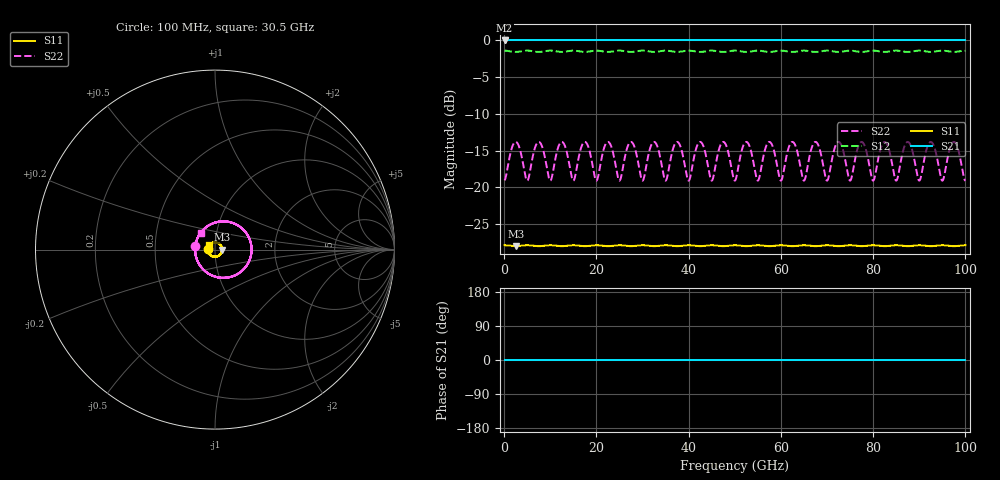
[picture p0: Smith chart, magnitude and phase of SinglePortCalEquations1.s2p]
! File created by SignalIntegrity v1.1.4: Signal and Power Integrity Tools
! https://github.com/TeledyneLeCroy/SignalIntegrity
# MHz MA S R 50.0
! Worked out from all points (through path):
!   1000 points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, 100 MHz to 100 GHz, reference 50 ohm
!   highest |S21| = 0.00 dB at 100 MHz (marker M1); lowest = 0.0 dB at 100 MHz (marker M2)
!   lowest |S11| = -28.0 dB at 2.5 GHz (marker M3), VSWR 1.08, Z = 54.1 + j0 ohm
!   |S11| at or under -10 dB: start of sweep to end of sweep
!   |S22| runs from -19.1 to -13.8 dB; largest |S21 - S12| = 0.16
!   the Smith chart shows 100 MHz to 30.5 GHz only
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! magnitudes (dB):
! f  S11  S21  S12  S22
! 100 MHz  -27.9  0.0  -1.4  -19.0
! 2.5 GHz  -28.0  0.0  -1.6  -13.8
! 5 GHz  -27.9  0.0  -1.4  -19.1
! 16.8 GHz  -28.0  0.0  -1.5  -14.4
! 20 GHz  -27.9  0.0  -1.4  -19.1
! 22.4 GHz  -28.0  0.0  -1.6  -13.8
! 25 GHz  -27.9  0.0  -1.4  -19.1
! 33.4 GHz  -28.0  0.0  -1.5  -14.8
! 42.6 GHz  -28.0  0.0  -1.6  -13.8
! 45 GHz  -27.9  0.0  -1.4  -19.1
! 47.6 GHz  -28.0  0.0  -1.6  -13.8
! 50.1 GHz  -27.9  0.0  -1.4  -19.0
! 52.4 GHz  -28.0  0.0  -1.6  -13.8
! 55 GHz  -27.9  0.0  -1.4  -19.1
! 66.7 GHz  -28.0  0.0  -1.5  -14.6
! 70 GHz  -27.9  0.0  -1.4  -19.1
! 72.4 GHz  -28.0  0.0  -1.6  -13.8
! 75 GHz  -27.9  0.0  -1.4  -19.1
! 83.4 GHz  -28.0  0.0  -1.5  -14.8
! 95 GHz  -27.9  0.0  -1.4  -19.1
! 97.6 GHz  -28.0  0.0  -1.6  -13.8
! 100 GHz  -27.9  0.0  -1.4  -19.1
